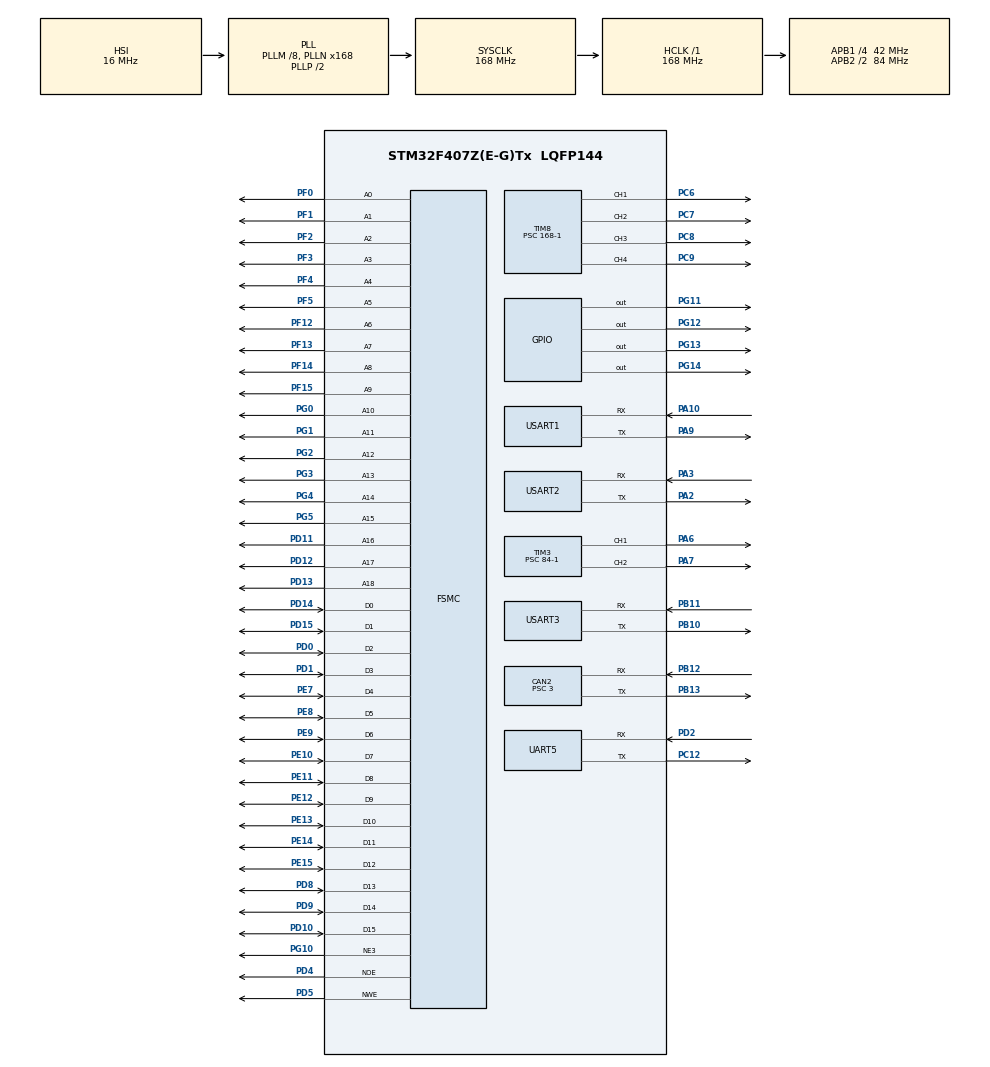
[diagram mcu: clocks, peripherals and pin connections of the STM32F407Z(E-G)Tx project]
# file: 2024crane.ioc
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CAN2.ABOM=ENABLE
CAN2.BS1=CAN_BS1_9TQ
CAN2.BS2=CAN_BS2_4TQ
CAN2.CalculateBaudRate=1000000
CAN2.CalculateTimeBit=1000
CAN2.CalculateTimeQuantum=71.42857142857143
CAN2.Prescaler=3
FSMC.DataSetupTime1=8
FSMC.WriteOperation1=FSMC_WRITE_OPERATION_ENABLE
Mcu.Family=STM32F4
Mcu.Name=STM32F407Z(E-G)Tx
Mcu.Package=LQFP144
NVIC.CAN2_RX0_IRQn=true\:0\:0\:false\:false\:true\:true\:true\:true
NVIC.PriorityGroup=NVIC_PRIORITYGROUP_4
NVIC.TIM1_UP_TIM10_IRQn=true\:0\:0\:false\:false\:true\:true\:true\:true
NVIC.TIM8_CC_IRQn=true\:0\:0\:false\:false\:true\:true\:true\:true
NVIC.UART5_IRQn=true\:0\:0\:false\:false\:true\:true\:true\:true
NVIC.USART1_IRQn=true\:0\:0\:false\:false\:true\:true\:true\:true
NVIC.USART2_IRQn=true\:0\:0\:false\:false\:true\:true\:true\:true
NVIC.USART3_IRQn=true\:0\:0\:false\:false\:true\:true\:true\:true
PA10.Mode=Asynchronous
PA10.Signal=USART1_RX
PA13.Mode=Serial_Wire
PA13.Signal=SYS_JTMS-SWDIO
PA14.Mode=Serial_Wire
PA14.Signal=SYS_JTCK-SWCLK
PA2.Mode=Asynchronous
PA2.Signal=USART2_TX
PA3.Mode=Asynchronous
PA3.Signal=USART2_RX
PA6.Signal=S_TIM3_CH1
PA7.Signal=S_TIM3_CH2
PA9.Mode=Asynchronous
PA9.Signal=USART1_TX
PB10.Mode=Asynchronous
PB10.Signal=USART3_TX
PB11.Mode=Asynchronous
PB11.Signal=USART3_RX
PB12.Mode=CAN_Activate
PB12.Signal=CAN2_RX
PB13.Mode=CAN_Activate
PB13.Signal=CAN2_TX
PC12.Mode=Asynchronous
PC12.Signal=UART5_TX
PC14-OSC32_IN.Mode=LSE-External-Oscillator
PC14-OSC32_IN.Signal=RCC_OSC32_IN
PC15-OSC32_OUT.Mode=LSE-External-Oscillator
PC15-OSC32_OUT.Signal=RCC_OSC32_OUT
PC6.Signal=S_TIM8_CH1
PC7.Signal=S_TIM8_CH2
PC8.Signal=S_TIM8_CH3
PC9.Signal=S_TIM8_CH4
PD0.Signal=FSMC_D2_DA2
PD1.Signal=FSMC_D3_DA3
PD10.Signal=FSMC_D15_DA15
PD11.Signal=FSMC_A16_CLE
PD12.Signal=FSMC_A17_ALE
PD13.Signal=FSMC_A18
PD14.Signal=FSMC_D0_DA0
PD15.Signal=FSMC_D1_DA1
PD2.Mode=Asynchronous
PD2.Signal=UART5_RX
PD4.Signal=FSMC_NOE
PD5.Signal=FSMC_NWE
PD8.Signal=FSMC_D13_DA13
PD9.Signal=FSMC_D14_DA14
PE10.Signal=FSMC_D7_DA7
PE11.Signal=FSMC_D8_DA8
PE12.Signal=FSMC_D9_DA9
PE13.Signal=FSMC_D10_DA10
PE14.Signal=FSMC_D11_DA11
PE15.Signal=FSMC_D12_DA12
PE7.Signal=FSMC_D4_DA4
PE8.Signal=FSMC_D5_DA5
PE9.Signal=FSMC_D6_DA6
PF0.Signal=FSMC_A0
PF1.Signal=FSMC_A1
PF12.Signal=FSMC_A6
PF13.Signal=FSMC_A7
PF14.Signal=FSMC_A8
PF15.Signal=FSMC_A9
PF2.Signal=FSMC_A2
PF3.Signal=FSMC_A3
PF4.Signal=FSMC_A4
PF5.Signal=FSMC_A5
PG0.Signal=FSMC_A10
PG1.Signal=FSMC_A11
PG10.Mode=NorPsramChipSelect3_1
PG10.Signal=FSMC_NE3
PG11.Signal=GPIO_Output
PG12.Signal=GPIO_Output
PG13.Signal=GPIO_Output
PG14.Signal=GPIO_Output
PG2.Signal=FSMC_A12
PG3.Signal=FSMC_A13
PG4.Signal=FSMC_A14
PG5.Signal=FSMC_A15
PH0-OSC_IN.Mode=HSE-External-Oscillator
PH0-OSC_IN.Signal=RCC_OSC_IN
PH1-OSC_OUT.Mode=HSE-External-Oscillator
PH1-OSC_OUT.Signal=RCC_OSC_OUT
ProjectManager.HeapSize=0x200
ProjectManager.StackSize=0x400
ProjectManager.TargetToolchain=MDK-ARM V5.32
RCC.48MHZClocksFreq_Value=84000000
RCC.AHBFreq_Value=168000000
RCC.APB1CLKDivider=RCC_HCLK_DIV4
RCC.APB1Freq_Value=42000000
RCC.APB1TimFreq_Value=84000000
RCC.APB2CLKDivider=RCC_HCLK_DIV2
RCC.APB2Freq_Value=84000000
RCC.APB2TimFreq_Value=168000000
RCC.CortexFreq_Value=168000000
RCC.HCLKFreq_Value=168000000
RCC.HSE_VALUE=8000000
RCC.HSI_VALUE=16000000
RCC.PLLM=8
RCC.PLLN=168
RCC.SYSCLKFreq_VALUE=168000000
RCC.SYSCLKSource=RCC_SYSCLKSOURCE_PLLCLK
RCC.VCOOutputFreq_Value=336000000
SH.FSMC_A0.0=FSMC_A0,19b-a1
SH.FSMC_A1.0=FSMC_A1,19b-a1
SH.FSMC_A10.0=FSMC_A10,19b-a1
SH.FSMC_A11.0=FSMC_A11,19b-a1
SH.FSMC_A12.0=FSMC_A12,19b-a1
SH.FSMC_A13.0=FSMC_A13,19b-a1
SH.FSMC_A14.0=FSMC_A14,19b-a1
SH.FSMC_A15.0=FSMC_A15,19b-a1
SH.FSMC_A16_CLE.0=FSMC_A16,19b-a1
SH.FSMC_A17_ALE.0=FSMC_A17,19b-a1
SH.FSMC_A18.0=FSMC_A18,19b-a1
SH.FSMC_A2.0=FSMC_A2,19b-a1
SH.FSMC_A3.0=FSMC_A3,19b-a1
SH.FSMC_A4.0=FSMC_A4,19b-a1
SH.FSMC_A5.0=FSMC_A5,19b-a1
SH.FSMC_A6.0=FSMC_A6,19b-a1
SH.FSMC_A7.0=FSMC_A7,19b-a1
SH.FSMC_A8.0=FSMC_A8,19b-a1
SH.FSMC_A9.0=FSMC_A9,19b-a1
SH.FSMC_D0_DA0.0=FSMC_D0,16b-d1
SH.FSMC_D10_DA10.0=FSMC_D10,16b-d1
SH.FSMC_D11_DA11.0=FSMC_D11,16b-d1
SH.FSMC_D12_DA12.0=FSMC_D12,16b-d1
SH.FSMC_D13_DA13.0=FSMC_D13,16b-d1
SH.FSMC_D14_DA14.0=FSMC_D14,16b-d1
SH.FSMC_D15_DA15.0=FSMC_D15,16b-d1
SH.FSMC_D1_DA1.0=FSMC_D1,16b-d1
SH.FSMC_D2_DA2.0=FSMC_D2,16b-d1
SH.FSMC_D3_DA3.0=FSMC_D3,16b-d1
SH.FSMC_D4_DA4.0=FSMC_D4,16b-d1
SH.FSMC_D5_DA5.0=FSMC_D5,16b-d1
SH.FSMC_D6_DA6.0=FSMC_D6,16b-d1
SH.FSMC_D7_DA7.0=FSMC_D7,16b-d1
SH.FSMC_D8_DA8.0=FSMC_D8,16b-d1
SH.FSMC_D9_DA9.0=FSMC_D9,16b-d1
SH.FSMC_NOE.0=FSMC_NOE,Sram1
SH.FSMC_NWE.0=FSMC_NWE,Sram1
SH.S_TIM3_CH1.0=TIM3_CH1,PWM Generation1 CH1
SH.S_TIM3_CH2.0=TIM3_CH2,PWM Generation2 CH2
SH.S_TIM8_CH1.0=TIM8_CH1,Output Compare1 CH1
SH.S_TIM8_CH2.0=TIM8_CH2,Output Compare2 CH2
SH.S_TIM8_CH3.0=TIM8_CH3,Output Compare3 CH3
SH.S_TIM8_CH4.0=TIM8_CH4,Output Compare4 CH4
TIM10.Period=2000-1
TIM10.Prescaler=84
TIM3.Channel-PWM\ Generation1\ CH1=TIM_CHANNEL_1
TIM3.Channel-PWM\ Generation2\ CH2=TIM_CHANNEL_2
TIM3.Period=20000-1
TIM3.Prescaler=84-1
TIM8.Channel-Output\ Compare1\ CH1=TIM_CHANNEL_1
TIM8.Channel-Output\ Compare2\ CH2=TIM_CHANNEL_2
TIM8.Channel-Output\ Compare3\ CH3=TIM_CHANNEL_3
TIM8.Channel-Output\ Compare4\ CH4=TIM_CHANNEL_4
TIM8.OCMode_1=TIM_OCMODE_TOGGLE
TIM8.OCMode_2=TIM_OCMODE_TOGGLE
TIM8.OCMode_3=TIM_OCMODE_TOGGLE
TIM8.OCMode_4=TIM_OCMODE_TOGGLE
TIM8.Prescaler=168-1
UART5.VirtualMode=Asynchronous
USART1.VirtualMode=VM_ASYNC
USART2.VirtualMode=VM_ASYNC
USART3.VirtualMode=VM_ASYNC
VP_TIM10_VS_ClockSourceINT.Mode=Enable_Timer
VP_TIM3_VS_ClockSourceINT.Mode=Internal
VP_TIM8_VS_ClockSourceINT.Mode=Internal
board=custom

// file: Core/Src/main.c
/* USER CODE BEGIN Header */
/**
  ******************************************************************************
  * @file           : main.c
  * @brief          : Main program body
  ******************************************************************************
  * @attention
  *
  * Copyright (c) 2024 STMicroelectronics.
  * All rights reserved.
  *
  * This software is licensed under terms that can be found in the LICENSE file
  * in the root directory of this software component.
  * If no LICENSE file comes with this software, it is provided AS-IS.
  *
  ******************************************************************************
  */
/*	【引脚定义】

[步进电机]  PUL    DIR
motor1：    PC6    PG11
motor1：    PC7    PG12
motor1：    PC8    PG13
motor1：    PC9    PG14

[舵机]	    PWM
servo1：    PA6
servo1：    PA7

[TOF]       TX     RX
TOF1：      PA2    PA3
TOF2：      PB10   PB11

[通信]      TX     RX
上位机：    PA9    PA10
单片机2：   PC12   PD2
*/

/*
通讯解析
三个识别点：1，4，7
发送的字符信号：1，2，3
解析：
第1个位置有，  或者第4个位置、第7个位置如果全有砝码， 发送1 -> 规划路径
第1个位置没有, 或者第4个位置、第7个位置如果非全有, 		发送2 -> 规划路径
抓完物品、放完物品后或者直接走，大车行进，						发送3，-> 按规划的路径直接行进

接收的字符信号：a，1，2，3，4，5，6，7，8，9
解析：初始化完后发送 “a” ，标志开始。
其余数字：位置信息。
*/

/* USER CODE END Header */
#include "main.h"
#include "can.h"
#include "tim.h"
#include "usart.h"
#include "gpio.h"
#include "fsmc.h"

/* USER CODE BEGIN Includes */
#include "TOFSense.h"
#include "stepper_motor.h"
#include "malloc.h"
#include "servo.h"
#include "logic.h"
/* USER CODE END Includes */

/* USER CODE BEGIN PV */

/***********步进电机步数数组**************/
/*步进电机运动方向
	起升motor1------------ +:升 -:降
	起升motor2------------ +:升 -:降
	平移motor3------------ +:边 -:中
	平移motor4------------ +:边 -:中
*/

uint8_t cs_flag=0;//测试参数
double crane_init[3]={1.0,1.0,-3.27},/*motor1升  motor2升  motor3中*/
//初始化步数数组

sec1_bj[3]={-0.85,1.02,-0.21},/*motor1降  motor1升  motor1降  motor1升*/
//第一部分步进电机1、2起升升步数记录

sce2_zhubei[2]={0.04,3.27},/*motor1降  motor3边*/
//第二部分步进电机1，3运动步数记录

sec2o3_qs[2][3]={
{-0.85,1.87,-0.21},/*motor1降  motor1升  motor1降  motor1升*/
{-0.85,1.87,-0.21} /*motor2降  motor2升  motor2降  motor2升*/
},

sec2o3_py[2][3]={
{3.195,0.985,4.152},//motor3:内平移（边）外平移（边）大平移（边）
{3.160,1.090,4.249} //motor4:内平移（边）外平移（边）大平移（边）
},

sce3_zhubei[3]={-0.81,-4.152,-4.249};/*motor1/motor2降  3大平移/4大平移（中）*/

/****标志位所用参数***/
uint8_t action=0;//初始化移动标志位

/****TOF测距使用参数****/
unsigned char TOF_data[32] = {0};   //store 2 TOF frames
unsigned char TOF_data2[32] = {0};
unsigned char TOF_length = 16;
unsigned char TOF_header[3] = {0x57,0x00,0xFF};
unsigned long TOF_system_time = 0;
unsigned long TOF_distance1 = 0;
unsigned long TOF_distance2 = 0;
unsigned long dis1 = 0;
unsigned long dis2 = 0;
unsigned char TOF_status = 0;
unsigned int TOF_signal = 0;
unsigned char TOF_check = 0;
uint8_t count = 0;
uint8_t location = 0; //初始参数为0，表示0号位
uint8_t servo1_zhuaqv = 0;//1为立即抓，2为在下一个位置抓
uint8_t servo2_zhuaqv = 0;//1为立即抓，2为在下一个位置抓
int qvwu_infer[2][9]={{0,0,0,0,0,0,0,0,0},{0,0,0,0,0,0,0,0,0}};

/****串口接收全局数组****/
uint16_t DataBuff[50]={0};uint16_t DataBuff5[50]={0};
extern uint16_t RxBuff[1],RxBuff5[1];

/****步进电机加减速使用参数和宏*****/
__IO double g_step_angle = 200;            /* 设置的步进步数*/
extern __IO  uint32_t g_add_pulse_count[4];    /* 脉冲个数累计*/
extern motor_state_typedef g_motor1_sta,
g_motor2_sta,
g_motor3_sta,
g_motor4_sta;

/****内存申请所用参数****/
const char *SRAM_NAME_BUF[SRAMBANK] = {" SRAMIN  ", " SRAMCCM ", " SRAMEX  "};

/* USER CODE END PV */

void SystemClock_Config(void);

int main(void)
{

  /* MCU Configuration--------------------------------------------------------*/

  /* Reset of all peripherals, Initializes the Flash interface and the Systick. */
  HAL_Init();

  /* Configure the system clock */
  SystemClock_Config();

  /* Initialize all configured peripherals */
  MX_GPIO_Init();
  MX_CAN2_Init();
  MX_TIM3_Init();
  MX_TIM8_Init();
  MX_TIM10_Init();
  MX_UART5_Init();
  MX_USART1_UART_Init();
  MX_USART2_UART_Init();
  MX_USART3_UART_Init();
  MX_FSMC_Init();
  /* USER CODE BEGIN 2 */
	/*********内存初始化***********/
	my_mem_init(SRAMIN);                /* 初始化内部SRAM内存池 */
  my_mem_init(SRAMEX);                /* 初始化外部SRAM内存池 */
  my_mem_init(SRAMCCM);               /* 初始化内部CCM内存池 */

	/*串口中断开启函数*/
	HAL_UART_Receive_IT(&huart1, (uint8_t *)&RxBuff, 1);
	HAL_UART_Receive_IT(&huart5, (uint8_t *)&RxBuff5, 1);
	HAL_UART_Receive_IT(&huart2, (uint8_t *)&aRxBuffer2, 1);
	HAL_UART_Receive_IT(&huart3, (uint8_t *)&aRxBuffer3, 1);
	/***舵机通道初始化****/
	HAL_TIM_PWM_Start(&htim3, TIM_CHANNEL_1);//启动定时器3通道1的PWM输出
	HAL_TIM_PWM_Start(&htim3, TIM_CHANNEL_2);//启动定时器3通道2的PWM输出
	steer_init(87);
	/**关闭步进电机通道**/
	HAL_TIM_OC_Stop_IT(&htim8, TIM_CHANNEL_1);
	HAL_TIM_OC_Stop_IT(&htim8, TIM_CHANNEL_2);
	HAL_TIM_OC_Stop_IT(&htim8, TIM_CHANNEL_3);
	HAL_TIM_OC_Stop_IT(&htim8, TIM_CHANNEL_4);

  /* USER CODE END 2 */

  /* Infinite loop */
  /* USER CODE BEGIN WHILE */
  while (1)
  {
					zhengji();//整机运行函数
    /* USER CODE END WHILE */

    /* USER CODE BEGIN 3 */
    /**************电机模块测试*******************/
#if   0
		if(cs_flag==0)
		{
					HAL_Delay(1000);
					steer(ZHANGKAI,SERVO_2);
					HAL_Delay(2000);
					steer(87.0,SERVO_2);
//					HAL_Delay(2000);
//					steer(BIHE,SERVO_ALL);
//					HAL_Delay(2000);
//					steer(ZHANGKAI,SERVO_ALL);
//				g_add_pulse_count[0]=0;
//				stepmotor_move_rel(V_START,fast_57END,fast_57ACTIME,fast_57DETIME,(1.0f)*SPR,STEPPER_MOTOR_1);;/* 一次加减速运动 */
//				stepper_start(STEPPER_MOTOR_1);
				cs_flag=1;
		}
//							sec2o3_zhuaqv2();
#elif 0
		if(cs_flag==0)
		{
				g_add_pulse_count[0]=0;
				g_add_pulse_count[1]=0;
				stepmotor_move_rel(V_START,80,0.01,0.01,(-1.0f)*SPR,STEPPER_MOTOR_2);;/* 一次加减速运动 */
//				stepmotor_move_rel(V_START,100,0.01,0.01,(-1.0f)*SPR,STEPPER_MOTOR_1);;/* 一次加减速运动 */
				stepper_start(STEPPER_MOTOR_2);
//				stepper_start(STEPPER_MOTOR_1);
				cs_flag=1;
		}
#endif
//		else if(cs_flag==1&&g_motor2_sta==STATE_IDLE)
//		{
//				HAL_Delay(1000);
//				g_add_pulse_count[0]=0;
//				stepmotor_move_rel(0,20,0.05f,0.05f,(-2.0)*SPR,STEPPER_MOTOR_2);/* 一次加减速运动 */
//				stepper_start(STEPPER_MOTOR_2);
//				cs_flag=2;
//		}
//
		/**************激光测距模块测试***************/
//					ceju();
/***********************************/
  }
  /* USER CODE END 3 */
}

void SystemClock_Config(void)
{
  RCC_OscInitTypeDef RCC_OscInitStruct = {0};
  RCC_ClkInitTypeDef RCC_ClkInitStruct = {0};

  /** Configure the main internal regulator output voltage
  */
  __HAL_RCC_PWR_CLK_ENABLE();
  __HAL_PWR_VOLTAGESCALING_CONFIG(PWR_REGULATOR_VOLTAGE_SCALE1);

  /** Initializes the RCC Oscillators according to the specified parameters
  * in the RCC_OscInitTypeDef structure.
  */
  RCC_OscInitStruct.OscillatorType = RCC_OSCILLATORTYPE_HSI;
  RCC_OscInitStruct.HSIState = RCC_HSI_ON;
  RCC_OscInitStruct.HSICalibrationValue = RCC_HSICALIBRATION_DEFAULT;
  RCC_OscInitStruct.PLL.PLLState = RCC_PLL_ON;
  RCC_OscInitStruct.PLL.PLLSource = RCC_PLLSOURCE_HSI;
  RCC_OscInitStruct.PLL.PLLM = 8;
  RCC_OscInitStruct.PLL.PLLN = 168;
  RCC_OscInitStruct.PLL.PLLP = RCC_PLLP_DIV2;
  RCC_OscInitStruct.PLL.PLLQ = 4;
  if (HAL_RCC_OscConfig(&RCC_OscInitStruct) != HAL_OK)
  {
    Error_Handler();
  }

  /** Initializes the CPU, AHB and APB buses clocks
  */
  RCC_ClkInitStruct.ClockType = RCC_CLOCKTYPE_HCLK|RCC_CLOCKTYPE_SYSCLK
                              |RCC_CLOCKTYPE_PCLK1|RCC_CLOCKTYPE_PCLK2;
  RCC_ClkInitStruct.SYSCLKSource = RCC_SYSCLKSOURCE_PLLCLK;
  RCC_ClkInitStruct.AHBCLKDivider = RCC_SYSCLK_DIV1;
  RCC_ClkInitStruct.APB1CLKDivider = RCC_HCLK_DIV4;
  RCC_ClkInitStruct.APB2CLKDivider = RCC_HCLK_DIV2;

  if (HAL_RCC_ClockConfig(&RCC_ClkInitStruct, FLASH_LATENCY_5) != HAL_OK)
  {
    Error_Handler();
  }
}

void Error_Handler(void)
{
  __disable_irq();
  while (1)
  {
  }
}
